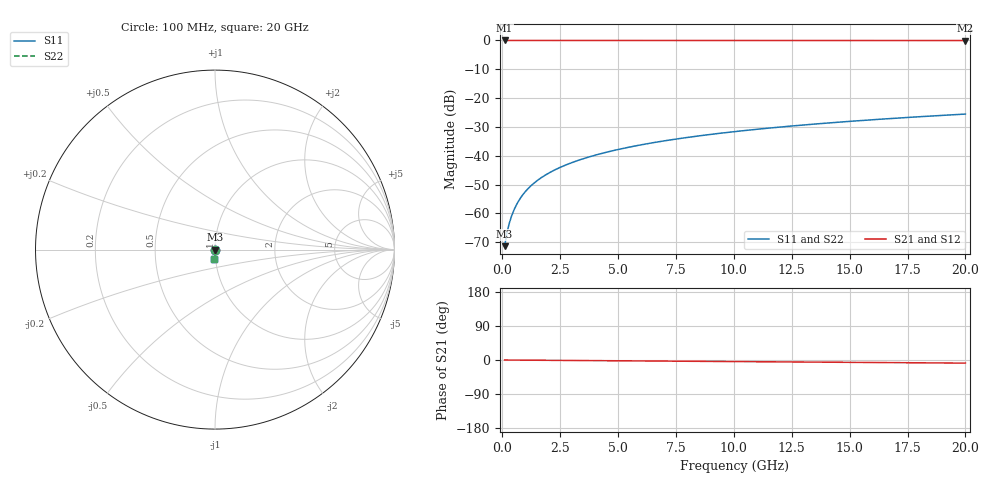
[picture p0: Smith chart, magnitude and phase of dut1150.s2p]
! Touchstone file exported from HFSS 2026.1.0
!  File:  C:/ffzhzh/LocalFiles/Ansys_Project_Files/temp_train_TSV_1150_1783191558_51560.aedt
!  Generated:  03:00:42 AM Jul  5, 2026
!  Design:  TSV
!  Project:  temp_train_TSV_1150_1783191558_51560
! Variables:
!  h_bsmrdl = 2um
!  h_ox = 20um
!  h_rdl = 5um
!  h_sub = 82.28um
!  h_tmrdl = 5um
!  h_tsv = 82.28um
!  h_via = 3um
!  l_bsmrdl = 300um
!  l_sub = 417.22um
!  l_tmrdl = 200um
!  m_sub = 200um
!  pitch = 24.98um
!  r_tsv = 8.61um
!  s_tmrdl = 10um
!  w_bsmrdl = 18um
!  w_sub = 500um
!  w_tmrdl = 12um
!  x_tsv_center1 = 206um
!  x_tsv_center2 = 524um
!  x_tsv_center3 = 736um
!  x_tsv_center4 = 1054um
!  x_tsv_center5 = 1266um
!  x_tsv_center6 = 1584um
# GHz S MA R 50.000000
! Terminal data exported
! Port[1] = TSV1_1_T1
! Port[2] = TSV1_1_T2
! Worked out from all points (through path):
!   200 points, 100 MHz to 20 GHz, reference 50 ohm
!   highest |S21| = 0.00 dB at 100 MHz (marker M1); lowest = 0.0 dB at 20 GHz (marker M2)
!   group delay of S21, straight-line fit = 1.14 ps
!   lowest |S11| = -71.3 dB at 100 MHz (marker M3), VSWR 1.00, Z = 50 - j0.0205 ohm
!   |S11| at or under -10 dB: start of sweep to end of sweep
!   |S22| runs from -71.3 to -25.5 dB; largest |S21 - S12| = 3e-15
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0.1  0.0002712 -49.2  0.9998 -0.0  0.9998 -0.0  0.0002712 -49.2
! Gamma 0 0 0 0
! Port Impedance 50 0 50 0
0.2  0.0004597 -64.7  0.9998 -0.1  0.9998 -0.1  0.0004597 -64.7
0.3  0.0006732 -70.6  0.9998 -0.1  0.9998 -0.1  0.0006732 -70.6
0.4  0.0009011 -73.6  0.9997 -0.2  0.9997 -0.2  0.0009011 -73.6
0.5  0.001139 -75.4  0.9997 -0.2  0.9997 -0.2  0.001139 -75.4
0.7  0.001636 -77.9  0.9996 -0.3  0.9996 -0.3  0.001636 -77.9
0.8  0.00189 -78.8  0.9996 -0.3  0.9996 -0.3  0.00189 -78.8
1  0.002405 -80.3  0.9996 -0.4  0.9996 -0.4  0.002405 -80.3
1.2  0.002923 -81.5  0.9995 -0.5  0.9995 -0.5  0.002923 -81.5
1.4  0.003442 -82.5  0.9995 -0.6  0.9995 -0.6  0.003442 -82.5
1.7  0.004221 -83.6  0.9995 -0.7  0.9995 -0.7  0.004221 -83.6
2  0.005 -84.5  0.9994 -0.8  0.9994 -0.8  0.005 -84.5
2.7  0.006821 -85.8  0.9993 -1.1  0.9993 -1.1  0.006821 -85.8
3.5  0.008911 -86.9  0.9993 -1.5  0.9993 -1.5  0.008911 -86.9
4.2  0.01075 -87.6  0.9992 -1.8  0.9992 -1.8  0.01075 -87.6
5  0.01286 -88.3  0.9991 -2.1  0.9991 -2.1  0.01286 -88.3
6.8  0.01764 -89.5  0.9988 -2.8  0.9988 -2.8  0.01764 -89.5
8.3  0.02164 -90.5  0.9986 -3.4  0.9986 -3.4  0.02164 -90.5
10.1  0.02645 -91.5  0.9984 -4.2  0.9984 -4.2  0.02645 -91.5
13.4  0.03528 -93.2  0.998 -5.5  0.998 -5.5  0.03528 -93.2
16.7  0.04409 -94.8  0.9974 -6.9  0.9974 -6.9  0.04409 -94.8
20  0.05291 -96.3  0.9968 -8.2  0.9968 -8.2  0.05291 -96.3
